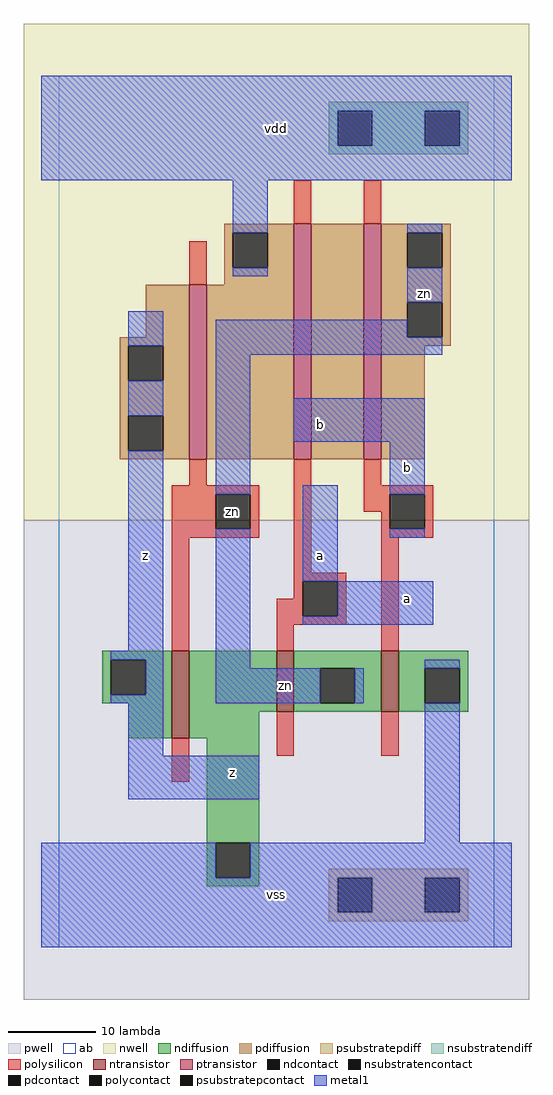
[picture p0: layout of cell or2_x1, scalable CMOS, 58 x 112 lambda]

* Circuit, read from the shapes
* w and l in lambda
.subckt or2_x1 a b vdd vss z zn
M1 vss zn z vss nfet w=10 l=2
M2 zn a vss vss nfet w=7 l=2
M3 vss b zn vss nfet w=7 l=2
M4 vdd zn z vdd pfet w=20 l=2
M5 n1 a vdd vdd pfet w=27 l=2
M6 zn b n1 vdd pfet w=27 l=2
.ends

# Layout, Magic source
magic
tech scmos
<< ab >>
rect 0 0 50 100
<< pwell >>
rect -4 -6 54 49
<< nwell >>
rect -4 49 54 106
<< polysilicon >>
rect 27 83 29 88
rect 35 83 37 88
rect 15 76 17 81
rect 15 53 17 56
rect 13 52 23 53
rect 13 48 18 52
rect 22 48 23 52
rect 13 47 23 48
rect 13 34 15 47
rect 27 43 29 56
rect 35 53 37 56
rect 35 52 43 53
rect 35 50 38 52
rect 37 48 38 50
rect 42 48 43 52
rect 37 47 43 48
rect 27 42 33 43
rect 27 40 28 42
rect 25 38 28 40
rect 32 38 33 42
rect 25 37 33 38
rect 25 34 27 37
rect 37 34 39 47
rect 13 19 15 24
rect 25 22 27 27
rect 37 22 39 27
<< ndiffusion >>
rect 5 33 13 34
rect 5 29 6 33
rect 10 29 13 33
rect 5 28 13 29
rect 8 24 13 28
rect 15 27 25 34
rect 27 32 37 34
rect 27 28 30 32
rect 34 28 37 32
rect 27 27 37 28
rect 39 32 47 34
rect 39 28 42 32
rect 46 28 47 32
rect 39 27 47 28
rect 15 24 23 27
rect 17 12 23 24
rect 17 8 18 12
rect 22 8 23 12
rect 17 7 23 8
<< pdiffusion >>
rect 19 82 27 83
rect 19 78 20 82
rect 24 78 27 82
rect 19 76 27 78
rect 10 70 15 76
rect 7 69 15 70
rect 7 65 8 69
rect 12 65 15 69
rect 7 61 15 65
rect 7 57 8 61
rect 12 57 15 61
rect 7 56 15 57
rect 17 56 27 76
rect 29 56 35 83
rect 37 82 45 83
rect 37 78 40 82
rect 44 78 45 82
rect 37 74 45 78
rect 37 70 40 74
rect 44 70 45 74
rect 37 69 45 70
rect 37 56 42 69
<< metal1 >>
rect -2 88 52 100
rect 20 82 24 88
rect 20 77 24 78
rect 40 82 44 83
rect 40 74 44 78
rect 8 69 12 73
rect 8 61 12 65
rect 8 34 12 57
rect 6 33 12 34
rect 10 29 12 33
rect 6 28 12 29
rect 18 70 40 72
rect 18 68 44 70
rect 18 52 22 68
rect 27 58 42 63
rect 18 32 22 48
rect 28 42 32 53
rect 38 52 42 58
rect 38 47 42 48
rect 32 38 43 42
rect 28 37 43 38
rect 42 32 46 33
rect 18 28 30 32
rect 34 28 35 32
rect 8 22 12 28
rect 8 17 23 22
rect 42 12 46 28
rect -2 8 18 12
rect 22 8 52 12
rect -2 0 52 8
<< ntransistor >>
rect 13 24 15 34
rect 25 27 27 34
rect 37 27 39 34
<< ptransistor >>
rect 15 56 17 76
rect 27 56 29 83
rect 35 56 37 83
<< polycontact >>
rect 18 48 22 52
rect 38 48 42 52
rect 28 38 32 42
<< ndcontact >>
rect 6 29 10 33
rect 30 28 34 32
rect 42 28 46 32
rect 18 8 22 12
<< pdcontact >>
rect 20 78 24 82
rect 8 65 12 69
rect 8 57 12 61
rect 40 78 44 82
rect 40 70 44 74
<< psubstratepcontact >>
rect 32 4 36 8
rect 42 4 46 8
<< nsubstratencontact >>
rect 32 92 36 96
rect 42 92 46 96
<< psubstratepdiff >>
rect 31 8 47 9
rect 31 4 32 8
rect 36 4 42 8
rect 46 4 47 8
rect 31 3 47 4
<< nsubstratendiff >>
rect 31 96 47 97
rect 31 92 32 96
rect 36 92 42 96
rect 46 92 47 96
rect 31 91 47 92
<< labels >>
rlabel metal1 20 20 20 20 6 z
rlabel metal1 20 20 20 20 6 z
rlabel metal1 10 45 10 45 6 z
rlabel metal1 10 45 10 45 6 z
rlabel polycontact 20 50 20 50 6 zn
rlabel metal1 25 6 25 6 6 vss
rlabel metal1 25 6 25 6 6 vss
rlabel metal1 26 30 26 30 6 zn
rlabel metal1 30 45 30 45 6 a
rlabel metal1 30 45 30 45 6 a
rlabel metal1 30 60 30 60 6 b
rlabel metal1 30 60 30 60 6 b
rlabel metal1 25 94 25 94 6 vdd
rlabel metal1 25 94 25 94 6 vdd
rlabel metal1 40 40 40 40 6 a
rlabel metal1 40 40 40 40 6 a
rlabel metal1 40 55 40 55 6 b
rlabel metal1 40 55 40 55 6 b
rlabel metal1 42 75 42 75 6 zn
<< end >>
